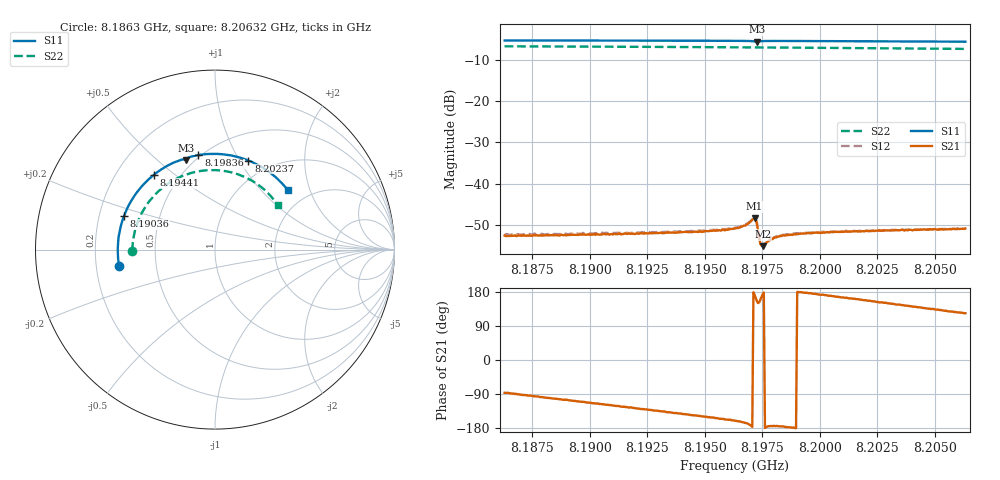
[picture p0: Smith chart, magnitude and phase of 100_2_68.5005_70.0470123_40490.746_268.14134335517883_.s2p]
#  HZ  S  RI  R  50.00
! Rohde & Schwarz Vector Network Analyzer
! Rohde-Schwarz,ZNB20-2Port,1311601062101988,3.16
! Created: UTC 3/20/2024, 5:08:10 PM
! freq[Hz]  re:S11  im:S11  re:S21  im:S21  re:S12  im:S12  re:S22  im:S22
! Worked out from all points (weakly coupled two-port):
!   401 points, 8.1863 GHz to 8.20632 GHz, reference 50 ohm
!   highest |S21| = -48.44 dB at 8.19716 GHz (marker M1); lowest = -55.2 dB at 8.19751 GHz (marker M2)
!   lowest |S11| = -5.6 dB at 8.19726 GHz (marker M3), VSWR 3.20, Z = 22.7 + j31.1 ohm
!   |S11| at or under -10 dB: nowhere
!   |S22| runs from -7.4 to -6.7 dB; largest |S21 - S12| = 0.00019
!   S11 on the Smith chart (normalised r, x): 8.1863 GHz: 0.30, -0.08; 8.19036 GHz: 0.31, +0.16; 8.19441 GHz: 0.36, +0.42; 8.19836 GHz: 0.49, +0.72; 8.20237 GHz: 0.79, +1.09; 8.20632 GHz: 1.58, +1.43
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8.186301e9  -0.5346 -0.0912  0.000146 -0.00234  9.82e-05 -0.00246  -0.4604 -0.00688
8.187903e9  -0.5414 0.0204  -0.000317 -0.00231  -0.000386 -0.00243  -0.4516 0.0816
8.189655e9  -0.5222 0.1413  -0.000838 -0.00225  -0.00094 -0.00228  -0.4224 0.1742
8.190356e9  -0.507 0.188  -0.00101 -0.0022  -0.00111 -0.00222  -0.4052 0.2091
8.193008e9  -0.4124 0.3474  -0.00176 -0.00178  -0.00185 -0.00179  -0.3147 0.3252
8.19441e9  -0.3416 0.4159  -0.00211 -0.00147  -0.00225 -0.00143  -0.2528 0.3731
8.196312e9  -0.2268 0.4861  -0.00268 -0.000964  -0.00279 -0.000842  -0.1569 0.4195
8.196712e9  -0.1994 0.497  -0.00299 -0.000795  -0.00306 -0.000729  -0.1355 0.4262
8.197063e9  -0.1725 0.5026  -0.00363 -0.000207  -0.00369 -5.75e-05  -0.1161 0.4312
8.197163e9  -0.1649 0.5006  -0.00375 0.000541  -0.00376 0.00067  -0.1107 0.4322
8.197213e9  -0.1628 0.4987  -0.00351 0.00102  -0.00354 0.0012  -0.1079 0.4329
8.197263e9  -0.1627 0.4975  -0.00298 0.00136  -0.00298 0.00154  -0.1052 0.4333
8.197413e9  -0.1606 0.505  -0.00174 0.000663  -0.0017 0.000754  -0.0971 0.4351
8.197463e9  -0.1574 0.5077  -0.00171 0.000413  -0.00171 0.000511  -0.0943 0.4357
8.197513e9  -0.1539 0.51  -0.00173 0.000214  -0.00178 0.000272  -0.0917 0.4363
8.197963e9  -0.121 0.5209  -0.00213 -0.000205  -0.00218 -0.000156  -0.0664 0.4401
8.198364e9  -0.0924 0.5266  -0.00232 -0.000202  -0.00238 -9.2e-05  -0.0437 0.4423
8.199665e9  -8.8e-05 0.5336  -0.00249 0.0002  -0.00255 0.000335  0.0301 0.4409
8.202368e9  0.1864 0.4962  -0.0024 0.00113  -0.0024 0.00125  0.178 0.3988
8.203019e9  0.2284 0.4774  -0.00232 0.00135  -0.0023 0.00146  0.2108 0.3808
8.20452e9  0.3179 0.4202  -0.00205 0.00189  -0.00197 0.00193  0.2805 0.3288
8.206322e9  0.4075 0.3293  -0.00157 0.00237  -0.00148 0.00239  0.3489 0.2485
